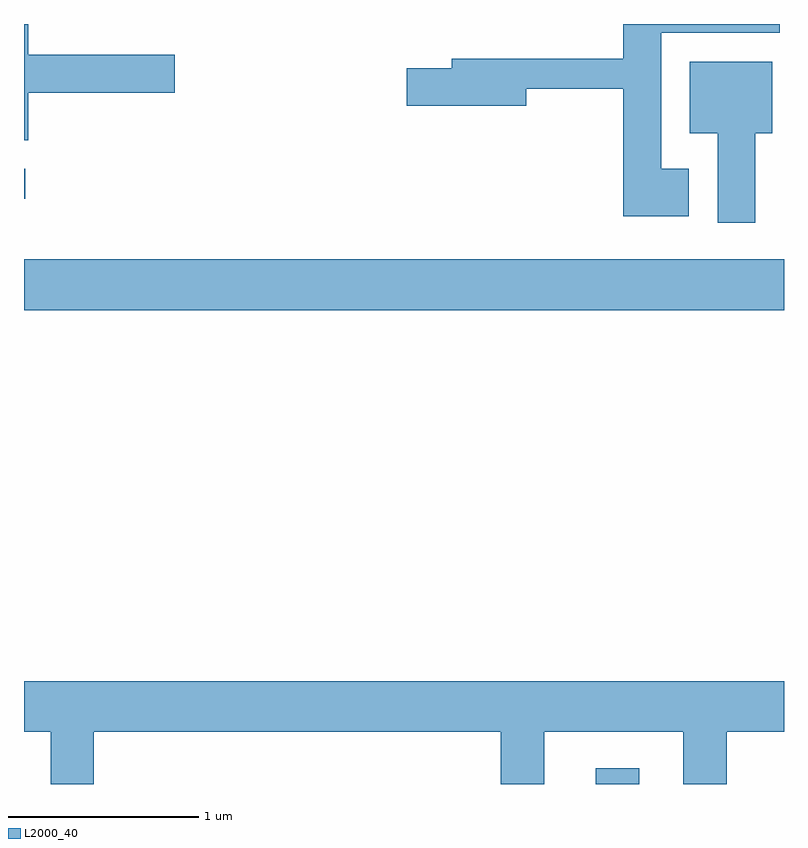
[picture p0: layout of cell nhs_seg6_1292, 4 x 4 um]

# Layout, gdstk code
import gdstk
lib = gdstk.Library(unit=1e-6, precision=1e-09)
def R(c, l, rs):  # rectangles x0, y0, x1, y1
    for r in rs: c.add(gdstk.rectangle(r[:2], r[2:], *l))
def P(c, l, *ps):  # polygons
    for p in ps: c.add(gdstk.Polygon(p, *l))
L2000_40 = (2000, 40)

nhs_seg6_1292 = lib.new_cell('nhs_seg6_1292')
R(nhs_seg6_1292, L2000_40, [(226.621,1594.162,226.849,1594.244), (223.611,1596.656,227.611,1596.924), (223.611,1597.241,223.618,1597.399)])
P(nhs_seg6_1292, L2000_40, [(223.634,1597.801),(224.404,1597.801),(224.404,1597.999),(223.634,1597.999),(223.634,1598.162),(223.611,1598.162),(223.611,1597.551),(223.634,1597.551)],
  [(227.109,1597.399),(226.964,1597.399),(226.964,1598.116),(227.589,1598.116),(227.589,1598.162),(226.766,1598.162),(226.766,1597.979),(225.861,1597.979),(225.861,1597.929),(225.626,1597.929),(225.626,1597.731),(226.254,1597.731),(226.254,1597.821),(226.766,1597.821),(226.766,1597.151),(227.109,1597.151)],
  [(227.459,1597.586),(227.549,1597.586),(227.549,1597.964),(227.116,1597.964),(227.116,1597.586),(227.261,1597.586),(227.261,1597.116),(227.459,1597.116)],
  [(223.979,1594.436),(226.121,1594.436),(226.121,1594.162),(226.349,1594.162),(226.349,1594.436),(227.081,1594.436),(227.081,1594.162),(227.309,1594.162),(227.309,1594.436),(227.611,1594.436),(227.611,1594.704),(223.611,1594.704),(223.611,1594.436),(223.751,1594.436),(223.751,1594.162),(223.979,1594.162)])

lib.write_gds('nhs_seg6_1292.gds')
